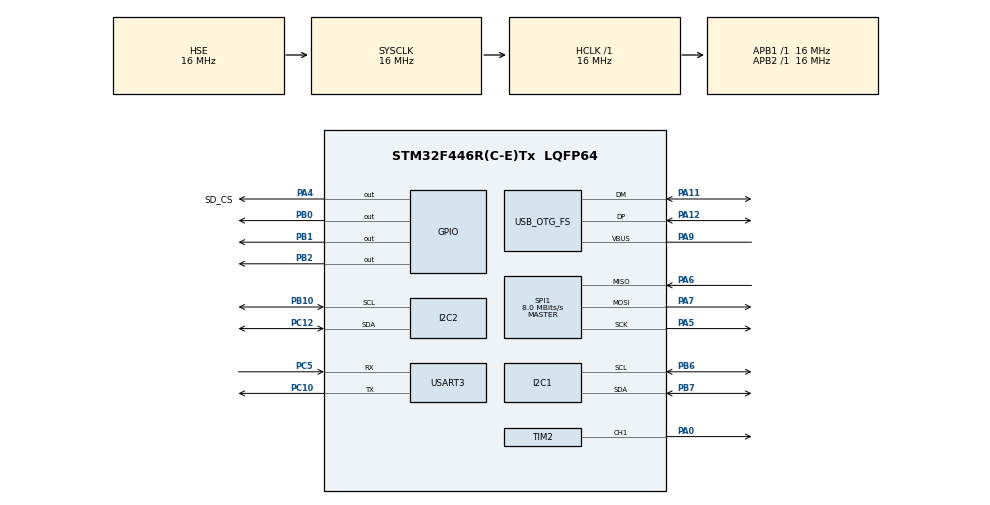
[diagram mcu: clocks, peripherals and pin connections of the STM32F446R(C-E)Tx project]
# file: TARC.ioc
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FREERTOS.Tasks01=defaultTask,0,128,StartDefaultTask,Default,NULL,Dynamic,NULL,NULL
Mcu.Family=STM32F4
Mcu.Name=STM32F446R(C-E)Tx
Mcu.Package=LQFP64
NVIC.PriorityGroup=NVIC_PRIORITYGROUP_4
PA0-WKUP.Signal=S_TIM2_CH1_ETR
PA11.Mode=Device_Only
PA11.Signal=USB_OTG_FS_DM
PA12.Mode=Device_Only
PA12.Signal=USB_OTG_FS_DP
PA13.Mode=Trace_Asynchronous_SW
PA13.Signal=SYS_JTMS-SWDIO
PA14.Mode=Trace_Asynchronous_SW
PA14.Signal=SYS_JTCK-SWCLK
PA4.GPIO_Label=SD_CS
PA4.Signal=GPIO_Output
PA5.Mode=Full_Duplex_Master
PA5.Signal=SPI1_SCK
PA6.Mode=Full_Duplex_Master
PA6.Signal=SPI1_MISO
PA7.Mode=Full_Duplex_Master
PA7.Signal=SPI1_MOSI
PA9.Mode=Activate_VBUS
PA9.Signal=USB_OTG_FS_VBUS
PB0.GPIO_ModeDefaultOutputPP=GPIO_MODE_OUTPUT_OD
PB0.GPIO_PuPd=GPIO_PULLUP
PB0.PinState=GPIO_PIN_SET
PB0.Signal=GPIO_Output
PB1.GPIO_ModeDefaultOutputPP=GPIO_MODE_OUTPUT_OD
PB1.GPIO_PuPd=GPIO_PULLUP
PB1.PinState=GPIO_PIN_SET
PB1.Signal=GPIO_Output
PB10.Mode=I2C
PB10.Signal=I2C2_SCL
PB2.GPIO_ModeDefaultOutputPP=GPIO_MODE_OUTPUT_OD
PB2.GPIO_PuPd=GPIO_PULLUP
PB2.PinState=GPIO_PIN_SET
PB2.Signal=GPIO_Output
PB3.Mode=Trace_Asynchronous_SW
PB3.Signal=SYS_JTDO-SWO
PB6.Mode=I2C
PB6.Signal=I2C1_SCL
PB7.Mode=I2C
PB7.Signal=I2C1_SDA
PC10.Mode=Asynchronous
PC10.Signal=USART3_TX
PC12.Mode=I2C
PC12.Signal=I2C2_SDA
PC5.Mode=Asynchronous
PC5.Signal=USART3_RX
PH0-OSC_IN.Mode=HSE-External-Oscillator
PH0-OSC_IN.Signal=RCC_OSC_IN
PH1-OSC_OUT.Mode=HSE-External-Oscillator
PH1-OSC_OUT.Signal=RCC_OSC_OUT
ProjectManager.HeapSize=0x200
ProjectManager.StackSize=0x400
ProjectManager.TargetToolchain=STM32CubeIDE
RCC.AHBFreq_Value=16000000
RCC.APB1Freq_Value=16000000
RCC.APB1TimFreq_Value=16000000
RCC.APB2Freq_Value=16000000
RCC.APB2TimFreq_Value=16000000
RCC.CortexFreq_Value=16000000
RCC.HCLKFreq_Value=16000000
RCC.HSE_VALUE=16000000
RCC.PLLM=8
RCC.PLLN=72
RCC.PLLQ=3
RCC.SYSCLKFreq_VALUE=16000000
RCC.SYSCLKSource=RCC_SYSCLKSOURCE_HSE
RCC.USBFreq_Value=48000000
RCC.VCOOutputFreq_Value=144000000
SH.S_TIM2_CH1_ETR.0=TIM2_CH1,PWM Generation1 CH1
SPI1.BaudRatePrescaler=SPI_BAUDRATEPRESCALER_2
SPI1.CalculateBaudRate=8.0 MBits/s
SPI1.Direction=SPI_DIRECTION_2LINES
SPI1.Mode=SPI_MODE_MASTER
SPI1.VirtualType=VM_MASTER
TIM2.Channel-PWM\ Generation1\ CH1=TIM_CHANNEL_1
TIM2.Period=20000-1
TIM2.Prescaler=16-1
USART3.VirtualMode=VM_ASYNC
USB_OTG_FS.VirtualMode=Device_Only
VP_FATFS_VS_Generic.Mode=User_defined
VP_FREERTOS_VS_CMSIS_V1.Mode=CMSIS_V1
VP_RTC_VS_RTC_Activate.Mode=RTC_Enabled
VP_RTC_VS_RTC_Calendar.Mode=RTC_Calendar
VP_TIM2_VS_ClockSourceINT.Mode=Internal
board=custom

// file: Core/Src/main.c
/* USER CODE BEGIN Header */
/**
  ******************************************************************************
  * @file           : main.c
  * @brief          : Main program body
  ******************************************************************************
  * @attention
  *
  * Copyright (c) 2025 STMicroelectronics.
  * All rights reserved.
  *
  * This software is licensed under terms that can be found in the LICENSE file
  * in the root directory of this software component.
  * If no LICENSE file comes with this software, it is provided AS-IS.
  *
  ******************************************************************************
  */
/* USER CODE END Header */
#include "main.h"
#include "cmsis_os.h"
#include "fatfs.h"
#include "i2c.h"
#include "rtc.h"
#include "spi.h"
#include "tim.h"
#include "usart.h"
#include "usb_otg.h"
#include "gpio.h"

/* USER CODE BEGIN Includes */
#include "user_define.h"
#if defined(USE_BMP390)
#include "bmp390_task.h"
#endif
#include "servo_task.h"
#include "sd_task.h"

/* USER CODE END Includes */

/* USER CODE BEGIN PV */
osThreadId ServoTaskHandle;
osThreadId SensorTaskHandle;
osThreadId SDTaskHandle;
QueueHandle_t xMyQueue;
/* USER CODE END PV */

void SystemClock_Config(void);
void MX_FREERTOS_Init(void);
/* USER CODE BEGIN PFP */
#define PUTCHAR_PROTOTYPE int __io_putchar(int ch)

/* USER CODE END PFP */

int main(void)
{

  /* MCU Configuration--------------------------------------------------------*/

  /* Reset of all peripherals, Initializes the Flash interface and the Systick. */
  HAL_Init();

  /* Configure the system clock */
  SystemClock_Config();

  /* Initialize all configured peripherals */
  MX_GPIO_Init();
  MX_I2C1_Init();
  MX_I2C2_Init();
  MX_SPI1_Init();
  MX_USART3_UART_Init();
  MX_RTC_Init();
  MX_USB_OTG_FS_PCD_Init();
  MX_FATFS_Init();
  MX_TIM2_Init();
  /* USER CODE BEGIN 2 */

  HAL_TIM_PWM_Start(&htim2, TIM_CHANNEL_1);

  xMyQueue = xQueueCreate(10, sizeof(MyMessage_t));

  osThreadDef(SDTask, StartSDTask, osPriorityNormal, 0, 512);
  SDTaskHandle = osThreadCreate(osThread(SDTask), xMyQueue);

  #if defined(USE_BMP390)
  osThreadDef(BMP390Task, StartBMP390Task, osPriorityNormal, 0, 512); //Altimeter
  SensorTaskHandle = osThreadCreate(osThread(BMP390Task), xMyQueue);
  #endif

  //osThreadDef(ServoTask, StartServoTask, osPriorityNormal, 0, 512); //High priority
  //ServoTaskHandle = osThreadCreate(osThread(ServoTask), xMyQueue);

  HAL_GPIO_TogglePin (GPIOB, GPIO_PIN_0);
  HAL_GPIO_TogglePin (GPIOB, GPIO_PIN_1);
  HAL_GPIO_TogglePin (GPIOB, GPIO_PIN_2);

  /* USER CODE END 2 */

  /* Call init function for freertos objects (in cmsis_os2.c) */
  MX_FREERTOS_Init();

  /* Start scheduler */
  osKernelStart();

  /* We should never get here as control is now taken by the scheduler */

  /* Infinite loop */
  while (1)
  {

  }
}

void SystemClock_Config(void)
{
  RCC_OscInitTypeDef RCC_OscInitStruct = {0};
  RCC_ClkInitTypeDef RCC_ClkInitStruct = {0};

  /** Configure the main internal regulator output voltage
  */
  __HAL_RCC_PWR_CLK_ENABLE();
  __HAL_PWR_VOLTAGESCALING_CONFIG(PWR_REGULATOR_VOLTAGE_SCALE3);

  /** Initializes the RCC Oscillators according to the specified parameters
  * in the RCC_OscInitTypeDef structure.
  */
  RCC_OscInitStruct.OscillatorType = RCC_OSCILLATORTYPE_LSI|RCC_OSCILLATORTYPE_HSE;
  RCC_OscInitStruct.HSEState = RCC_HSE_ON;
  RCC_OscInitStruct.LSEState = RCC_LSE_OFF;
  RCC_OscInitStruct.LSIState = RCC_LSI_ON;
  RCC_OscInitStruct.PLL.PLLState = RCC_PLL_ON;
  RCC_OscInitStruct.PLL.PLLSource = RCC_PLLSOURCE_HSE;
  RCC_OscInitStruct.PLL.PLLM = 8;
  RCC_OscInitStruct.PLL.PLLN = 72;
  RCC_OscInitStruct.PLL.PLLP = RCC_PLLP_DIV2;
  RCC_OscInitStruct.PLL.PLLQ = 3;
  RCC_OscInitStruct.PLL.PLLR = 2;
  if (HAL_RCC_OscConfig(&RCC_OscInitStruct) != HAL_OK)
  {
    Error_Handler();
  }

  /** Initializes the CPU, AHB and APB buses clocks
  */
  RCC_ClkInitStruct.ClockType = RCC_CLOCKTYPE_HCLK|RCC_CLOCKTYPE_SYSCLK
                              |RCC_CLOCKTYPE_PCLK1|RCC_CLOCKTYPE_PCLK2;
  RCC_ClkInitStruct.SYSCLKSource = RCC_SYSCLKSOURCE_HSE;
  RCC_ClkInitStruct.AHBCLKDivider = RCC_SYSCLK_DIV1;
  RCC_ClkInitStruct.APB1CLKDivider = RCC_HCLK_DIV1;
  RCC_ClkInitStruct.APB2CLKDivider = RCC_HCLK_DIV1;

  if (HAL_RCC_ClockConfig(&RCC_ClkInitStruct, FLASH_LATENCY_0) != HAL_OK)
  {
    Error_Handler();
  }
}

/* USER CODE BEGIN 4 */
/**
  * @brief  Retargets the C library printf function to the USART.
  *   None
  * @retval None
  */
PUTCHAR_PROTOTYPE
{
  /* Place your implementation of fputc here */
  /* e.g. write a character to the USART1 and Loop until the end of transmission */
  HAL_UART_Transmit(&huart3, (uint8_t *)&ch, 1, 0xFFFF);

  return ch;
}

/* USER CODE END 4 */

void Error_Handler(void)
{
  /* USER CODE BEGIN Error_Handler_Debug */
  /* User can add his own implementation to report the HAL error return state */
  __disable_irq();
  while (1)
  {
	  HAL_GPIO_TogglePin (GPIOB, GPIO_PIN_0);
	  HAL_GPIO_TogglePin (GPIOB, GPIO_PIN_1);
	  HAL_GPIO_TogglePin (GPIOB, GPIO_PIN_2);
	  HAL_Delay (100);
  }
  /* USER CODE END Error_Handler_Debug */
}
